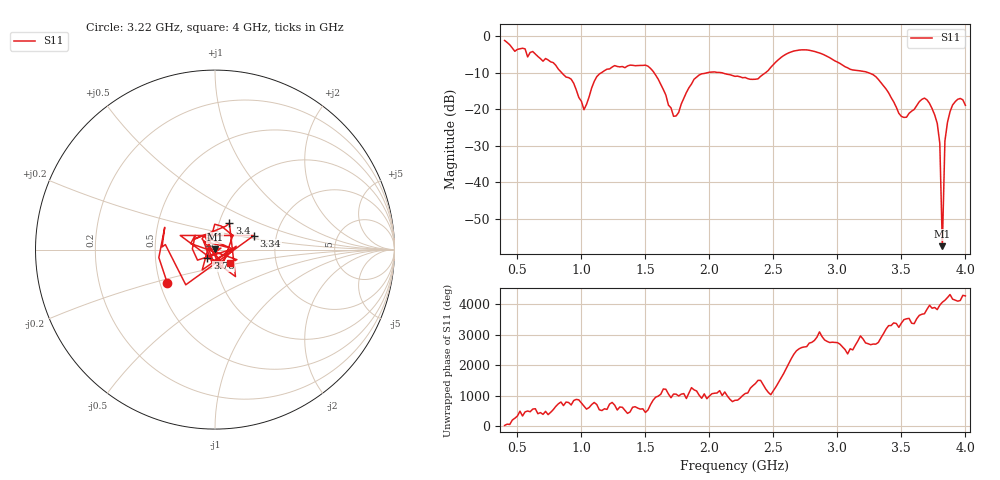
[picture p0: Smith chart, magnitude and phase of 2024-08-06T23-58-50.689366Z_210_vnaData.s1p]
!Created with skrf (http://scikit-rf.org).
# Hz S RI R 50.0
!freq ReS11 ImS11
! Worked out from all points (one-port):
!   181 points, 400 MHz to 4 GHz, reference 50 ohm
!   lowest |S11| = -57.6 dB at 3.82 GHz (marker M1), VSWR 1.00, Z = 50 + j0.125 ohm
!   |S11| at or under -10 dB: 1.567 GHz to 1.988 GHz (421.6 MHz wide, 23.7 % of centre); 2.088 GHz to 2.44 GHz (352.7 MHz wide, 15.6 % of centre); 3.24 GHz to end of sweep (the widest 3 of 4)
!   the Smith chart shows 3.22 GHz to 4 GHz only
!   S11 on the Smith chart (normalised r, x): 3.22 GHz: 0.55, -0.23; 3.34 GHz: 1.53, +0.25; 3.4 GHz: 1.12, +0.34; 3.78 GHz: 0.91, -0.09; 4 GHz: 1.16, -0.18
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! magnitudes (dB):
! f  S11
! 400 MHz  -1.2
! 860 MHz  -10.6
! 940 MHz  -12.9
! 1.02 GHz  -20.2
! 1.12 GHz  -11.1
! 1.3 GHz  -8.4
! 1.52 GHz  -8.2
! 1.6 GHz  -11.8
! 1.72 GHz  -22.0
! 1.76 GHz  -20.9
! 1.92 GHz  -10.7
! 2.2 GHz  -11.0
! 2.38 GHz  -11.7
! 2.66 GHz  -4.1
! 3.1 GHz  -9.1
! 3.22 GHz  -9.8
! 3.34 GHz  -12.7
! 3.4 GHz  -15.5
! 3.5 GHz  -22.0
! 3.56 GHz  -21.2
! 3.68 GHz  -17.0
! 3.78 GHz  -23.9
! 3.8 GHz  -29.3
! 3.82 GHz  -57.6
! 3.84 GHz  -28.8
! 3.86 GHz  -23.6
! 3.92 GHz  -18.0
! 4 GHz  -19.0
